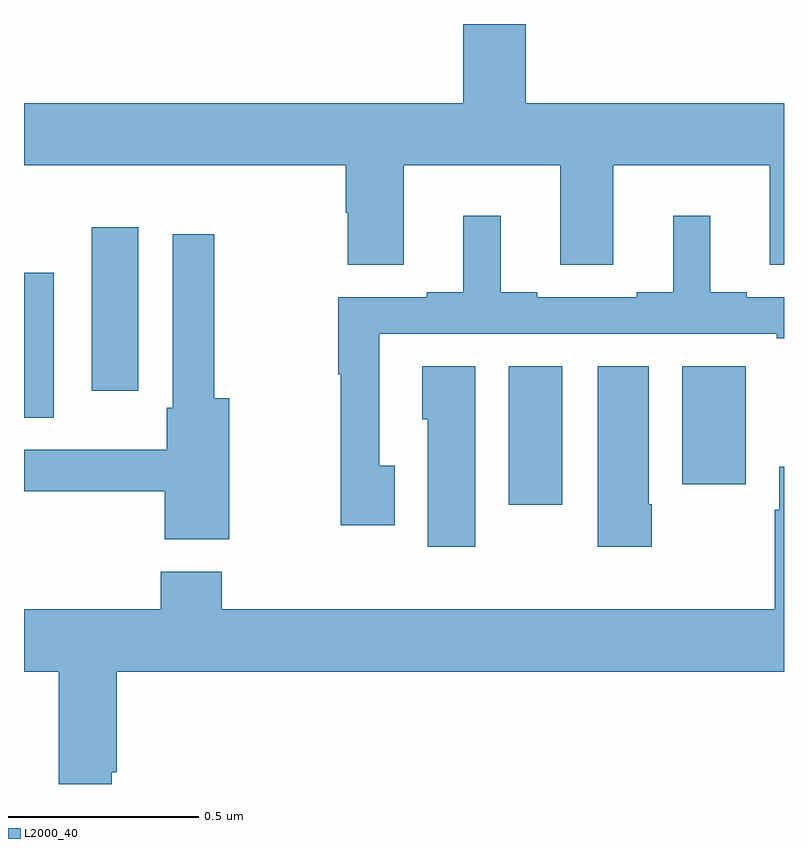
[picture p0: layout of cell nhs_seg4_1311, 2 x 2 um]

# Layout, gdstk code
import gdstk
lib = gdstk.Library(unit=1e-6, precision=1e-09)
def R(c, l, rs):  # rectangles x0, y0, x1, y1
    for r in rs: c.add(gdstk.rectangle(r[:2], r[2:], *l))
def P(c, l, *ps):  # polygons
    for p in ps: c.add(gdstk.Polygon(p, *l))
L2000_40 = (2000, 40)

nhs_seg4_1311 = lib.new_cell('nhs_seg4_1311')
R(nhs_seg4_1311, L2000_40, [(128.276,754.635,128.416,755), (128.732,754.689,128.899,755), (127,754.864,127.078,755.245), (127.178,754.935,127.3,755.365)])
P(nhs_seg4_1311, L2000_40, [(127,755.528),(127.847,755.528),(127.847,755.403),(127.852,755.403),(127.852,755.266),(127.999,755.266),(127.999,755.528),(128.411,755.528),(128.411,755.266),(128.551,755.266),(128.551,755.528),(128.963,755.528),(128.963,755.266),(129,755.266),(129,755.692),(128.32,755.692),(128.32,755.9),(128.156,755.9),(128.156,755.692),(127,755.692)],
  [(127.975,754.737),(127.935,754.737),(127.935,755.085),(128.981,755.085),(128.981,755.073),(129,755.073),(129,755.181),(128.902,755.181),(128.902,755.194),(128.806,755.194),(128.806,755.395),(128.708,755.395),(128.708,755.194),(128.612,755.194),(128.612,755.181),(128.35,755.181),(128.35,755.194),(128.254,755.194),(128.254,755.395),(128.156,755.395),(128.156,755.194),(128.06,755.194),(128.06,755.181),(127.827,755.181),(127.827,754.978),(127.834,754.978),(127.834,754.581),(127.975,754.581)],
  [(127.54,754.915),(127.501,754.915),(127.501,755.347),(127.392,755.347),(127.392,754.89),(127.375,754.89),(127.375,754.78),(127.182,754.78),(127.182,754.779),(127,754.779),(127,754.671),(127.37,754.671),(127.37,754.544),(127.54,754.544)],
  [(128.652,754.636),(128.644,754.636),(128.644,755),(128.51,755),(128.51,754.524),(128.652,754.524)],
  [(128.188,755),(128.048,755),(128.048,754.86),(128.063,754.86),(128.063,754.524),(128.188,754.524)],
  [(127.231,753.931),(127.244,753.931),(127.244,754.196),(129,754.196),(129,754.735),(128.988,754.735),(128.988,754.622),(128.976,754.622),(128.976,754.36),(127.52,754.36),(127.52,754.459),(127.36,754.459),(127.36,754.36),(127,754.36),(127,754.196),(127.091,754.196),(127.091,753.9),(127.231,753.9)])

lib.write_gds('nhs_seg4_1311.gds')
